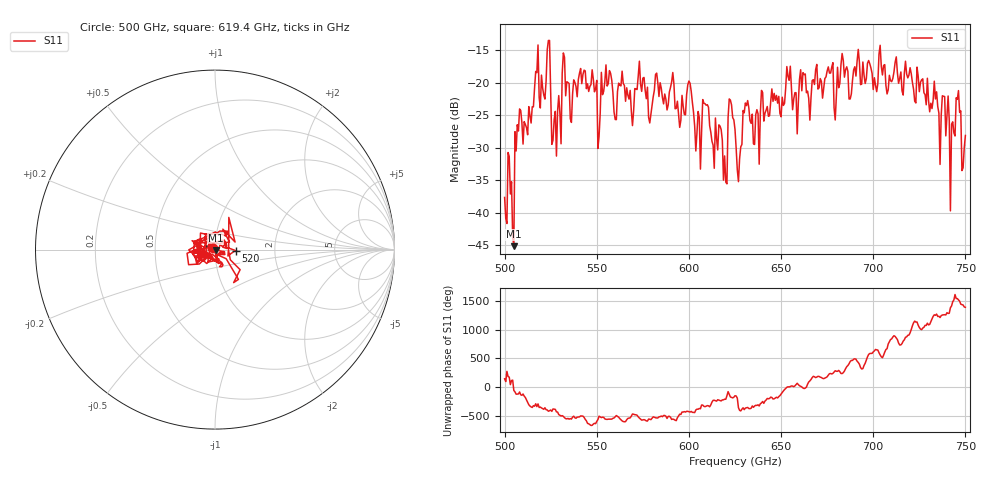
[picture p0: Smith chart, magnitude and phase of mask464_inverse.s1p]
!Created with skrf (http://scikit-rf.org).
# GHz S MA R 50.0
!freq magS11 angS11
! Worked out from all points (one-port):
!   401 points, 500 GHz to 750 GHz, reference 50 ohm
!   lowest |S11| = -45.2 dB at 505 GHz (marker M1), VSWR 1.01, Z = 50.3 - j0.475 ohm
!   |S11| at or under -10 dB: start of sweep to end of sweep
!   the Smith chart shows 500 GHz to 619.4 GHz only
!   S11 on the Smith chart (normalised r, x): 500 GHz: 0.98, +0.02; 520 GHz: 1.26, -0.01; 619.4 GHz: 0.95, +0.03
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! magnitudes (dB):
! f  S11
! 500 GHz  -37.7
! 505 GHz  -45.2
! 508.1 GHz  -24.0
! 520 GHz  -18.8
! 523.8 GHz  -13.5
! 526.9 GHz  -25.7
! 531.2 GHz  -18.5
! 542.5 GHz  -18.7
! 550.6 GHz  -30.1
! 562.5 GHz  -20.4
! 590.6 GHz  -19.9
! 593.8 GHz  -22.8
! 600 GHz  -19.7
! 605 GHz  -24.4
! 608.8 GHz  -23.2
! 619.4 GHz  -31.3
! 622.5 GHz  -22.7
! 625 GHz  -27.2
! 627.5 GHz  -31.7
! 630.6 GHz  -23.1
! 636.9 GHz  -24.2
! 656.2 GHz  -24.2
! 687.5 GHz  -22.5
! 718.8 GHz  -19.3
! 739.4 GHz  -28.2
! 743.1 GHz  -26.0
! 746.2 GHz  -21.2
! 750 GHz  -28.1
